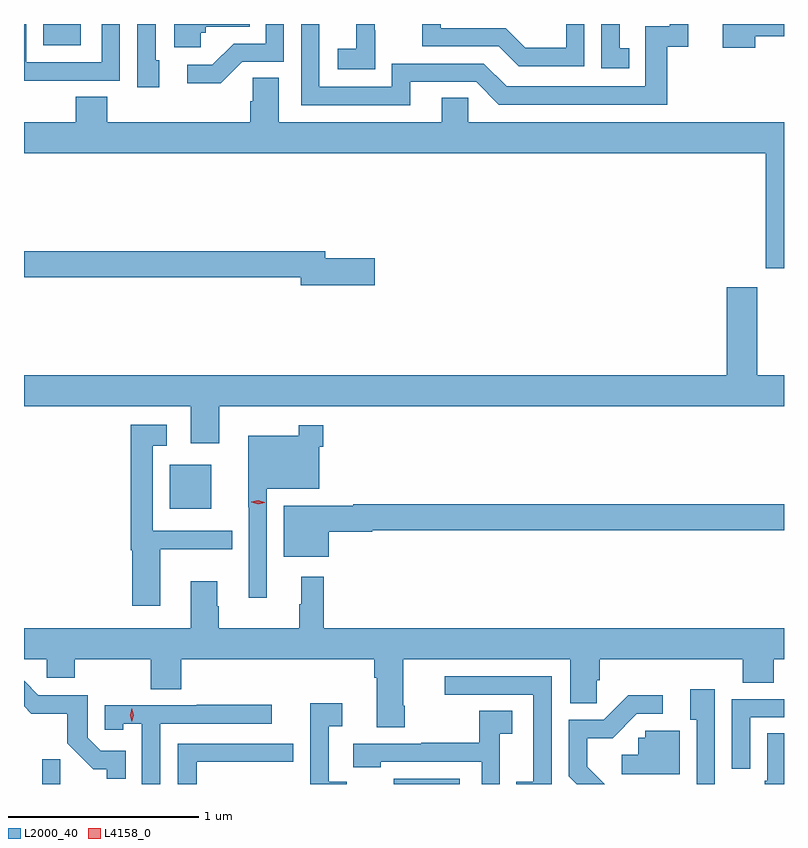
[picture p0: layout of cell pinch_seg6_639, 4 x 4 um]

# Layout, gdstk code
import gdstk
lib = gdstk.Library(unit=1e-6, precision=1e-09)
def R(c, l, rs):  # rectangles x0, y0, x1, y1
    for r in rs: c.add(gdstk.rectangle(r[:2], r[2:], *l))
def P(c, l, *ps):  # polygons
    for p in ps: c.add(gdstk.Polygon(p, *l))
L2000_40 = (2000, 40)
L4158_0 = (4158, 0)

pinch_seg6_639 = lib.new_cell('pinch_seg6_639')
R(pinch_seg6_639, L2000_40, [(496.096,949.344,496.19,949.473), (497.946,949.344,498.292,949.371), (496.766,950.792,496.984,951.025), (496.1,953.231,496.297,953.344)])
P(pinch_seg6_639, L2000_40, [(497.847,953.311),(497.846,953.311),(497.846,953.344),(497.747,953.344),(497.747,953.215),(497.649,953.215),(497.649,953.105),(497.847,953.105)],
  [(496.187,953.046),(496.503,953.046),(496.503,953.344),(496.407,953.344),(496.407,953.142),(496.011,953.142),(496.011,953.344),(495.999,953.344),(495.999,953.045),(496.187,953.045)],
  [(499.847,953.279),(499.999,953.279),(499.999,953.344),(499.676,953.344),(499.676,953.22),(499.847,953.22)],
  [(499.184,953.217),(499.135,953.217),(499.135,953.344),(499.038,953.344),(499.038,953.112),(499.184,953.112)],
  [(498.948,953.344),(498.852,953.344),(498.852,953.218),(498.638,953.218),(498.534,953.322),(498.192,953.322),(498.192,953.344),(498.094,953.344),(498.094,953.226),(498.497,953.226),(498.602,953.121),(498.948,953.121)],
  [(498.031,953.04),(498.378,953.04),(498.498,952.92),(499.385,952.92),(499.385,953.223),(499.496,953.223),(499.496,953.344),(499.398,953.344),(499.398,953.331),(499.269,953.331),(499.269,953.016),(498.54,953.016),(498.42,953.136),(497.934,953.136),(497.934,953.013),(497.553,953.013),(497.553,953.344),(497.457,953.344),(497.457,952.917),(498.031,952.917)],
  [(496.711,953.154),(496.692,953.154),(496.692,953.344),(496.596,953.344),(496.596,953.01),(496.711,953.01)],
  [(496.929,953.298),(496.956,953.298),(496.956,953.33),(497.186,953.33),(497.186,953.344),(496.79,953.344),(496.79,953.222),(496.929,953.222)],
  [(497.148,953.145),(497.367,953.145),(497.367,953.344),(497.271,953.344),(497.271,953.241),(497.102,953.241),(496.991,953.13),(496.857,953.13),(496.857,953.033),(497.035,953.033)],
  [(499.999,952.828),(498.336,952.828),(498.336,952.955),(498.197,952.955),(498.197,952.828),(497.341,952.828),(497.341,953.06),(497.202,953.06),(497.202,952.937),(497.189,952.937),(497.189,952.828),(496.436,952.828),(496.436,952.961),(496.271,952.961),(496.271,952.828),(495.999,952.828),(495.999,952.664),(499.904,952.664),(499.904,952.058),(499.999,952.058)],
  [(497.845,952.112),(497.584,952.112),(497.584,952.148),(495.999,952.148),(495.999,952.012),(497.456,952.012),(497.456,951.97),(497.845,951.97)],
  [(497.026,951.332),(499.999,951.332),(499.999,951.496),(499.857,951.496),(499.857,951.958),(499.697,951.958),(499.697,951.496),(495.999,951.496),(495.999,951.332),(496.877,951.332),(496.877,951.138),(497.026,951.138)],
  [(496.717,950.579),(497.096,950.579),(497.096,950.676),(496.677,950.676),(496.677,951.125),(496.75,951.125),(496.75,951.235),(496.561,951.235),(496.561,950.573),(496.568,950.573),(496.568,950.283),(496.717,950.283)],
  [(497.277,950.897),(497.553,950.897),(497.553,951.119),(497.573,951.119),(497.573,951.232),(497.445,951.232),(497.445,951.178),(497.18,951.178),(497.18,950.801),(497.181,950.801),(497.181,950.325),(497.277,950.325)],
  [(497.602,950.672),(497.832,950.672),(497.832,950.68),(499.999,950.68),(499.999,950.816),(497.732,950.816),(497.732,950.809),(497.366,950.809),(497.366,950.54),(497.602,950.54)],
  [(495.999,950),(496.119,950),(496.119,949.902),(496.266,949.902),(496.266,950),(496.666,950),(496.666,949.843),(496.826,949.843),(496.826,950),(497.843,950),(497.843,949.904),(497.855,949.904),(497.855,949.644),(498.003,949.644),(498.003,949.756),(497.995,949.756),(497.995,950),(498.875,950),(498.875,949.768),(499.013,949.768),(499.013,949.89),(499.028,949.89),(499.028,950),(499.781,950),(499.781,949.876),(499.946,949.876),(499.946,950),(499.999,950),(499.999,950.164),(497.576,950.164),(497.576,950.434),(497.459,950.434),(497.459,950.291),(497.448,950.291),(497.448,950.164),(497.025,950.164),(497.025,950.279),(497.017,950.279),(497.017,950.41),(496.877,950.41),(496.877,950.164),(495.999,950.164)],
  [(498.777,949.911),(498.213,949.911),(498.213,949.815),(498.68,949.815),(498.68,949.357),(498.589,949.357),(498.589,949.344),(498.777,949.344)],
  [(496.535,949.518),(496.404,949.518),(496.335,949.587),(496.335,949.812),(496.074,949.812),(495.999,949.887),(495.999,949.753),(496.038,949.714),(496.227,949.714),(496.227,949.558),(496.364,949.421),(496.434,949.421),(496.434,949.371),(496.535,949.371)],
  [(499.635,949.843),(499.505,949.843),(499.505,949.682),(499.539,949.682),(499.539,949.344),(499.635,949.344)],
  [(498.964,949.436),(498.964,949.586),(499.097,949.586),(499.224,949.713),(499.36,949.713),(499.36,949.811),(499.178,949.811),(499.05,949.683),(498.867,949.683),(498.867,949.385),(498.908,949.344),(499.056,949.344)],
  [(499.821,949.695),(499.999,949.695),(499.999,949.791),(499.725,949.791),(499.725,949.425),(499.821,949.425)],
  [(496.716,949.662),(497.302,949.662),(497.302,949.761),(496.909,949.761),(496.909,949.758),(496.425,949.758),(496.425,949.629),(496.521,949.629),(496.521,949.661),(496.62,949.661),(496.62,949.344),(496.716,949.344)],
  [(498.504,949.609),(498.568,949.609),(498.568,949.73),(498.396,949.73),(498.396,949.56),(498.091,949.56),(498.091,949.557),(497.733,949.557),(497.733,949.433),(497.877,949.433),(497.877,949.461),(498.408,949.461),(498.408,949.344),(498.504,949.344)],
  [(499.45,949.623),(499.269,949.623),(499.269,949.587),(499.233,949.587),(499.233,949.498),(499.146,949.498),(499.146,949.395),(499.45,949.395)],
  [(499.999,949.61),(499.91,949.61),(499.91,949.362),(499.898,949.362),(499.898,949.344),(499.999,949.344)],
  [(496.908,949.461),(497.303,949.461),(497.303,949.462),(497.416,949.462),(497.416,949.557),(496.809,949.557),(496.809,949.344),(496.908,949.344)],
  [(497.602,949.357),(497.602,949.648),(497.674,949.648),(497.674,949.768),(497.505,949.768),(497.505,949.344),(497.698,949.344),(497.698,949.357)])
P(pinch_seg6_639, L4158_0, [(497.231,950.817),(497.196,950.828),(497.195,950.829),(497.196,950.829),(497.231,950.837),(497.266,950.826),(497.267,950.826),(497.266,950.825)],
  [(496.567,949.671),(496.567,949.671),(496.557,949.707),(496.567,949.743),(496.567,949.743),(496.567,949.743),(496.577,949.707),(496.567,949.671)])

lib.write_gds('pinch_seg6_639.gds')
